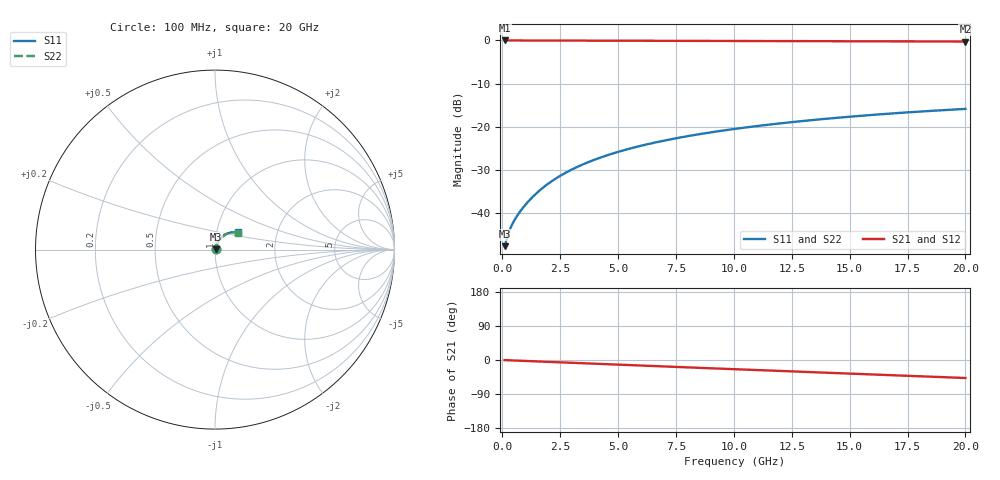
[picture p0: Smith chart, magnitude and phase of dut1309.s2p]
! Touchstone file exported from HFSS 2026.1.0
!  File:  C:/ffzhzh/LocalFiles/Ansys_Project_Files/temp_train_TMRDL_1309_1783164834_18472.aedt
!  Generated:  07:35:03 PM Jul  4, 2026
!  Design:  TMRDL
!  Project:  temp_train_TMRDL_1309_1783164834_18472
! Variables:
!  h_bsmrdl = 2um
!  h_ox = 20um
!  h_rdl = 5um
!  h_sub = 80um
!  h_tmrdl = 3.69um
!  h_tsv = 80um
!  h_via = 3um
!  l_bsmrdl = 300um
!  l_sub = 1230.92um
!  l_tmrdl = 830.92um
!  m_sub = 200um
!  pitch = 30.02um
!  r_tsv = 6um
!  s_tmrdl = 10um
!  w_bsmrdl = 18um
!  w_sub = 500um
!  w_tmrdl = 22.17um
!  x_tsv_center1 = 842.005um
!  x_tsv_center2 = 1160.005um
!  x_tsv_center3 = 2013.095um
!  x_tsv_center4 = 2331.095um
!  x_tsv_center5 = 3184.185um
!  x_tsv_center6 = 3502.185um
# GHz S MA R 50.000000
! Terminal data exported
! Port[1] = TM_RDL1_1_T1
! Port[2] = TM_RDL1_1_T2
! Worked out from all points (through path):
!   200 points, 100 MHz to 20 GHz, reference 50 ohm
!   highest |S21| = -0.03 dB at 100 MHz (marker M1); lowest = -0.3 dB at 20 GHz (marker M2)
!   group delay of S21, straight-line fit = 6.58 ps
!   lowest |S11| = -47.6 dB at 100 MHz (marker M3), VSWR 1.01, Z = 50.4 + j0.16 ohm
!   |S11| at or under -10 dB: start of sweep to end of sweep
!   |S22| runs from -47.6 to -15.8 dB; largest |S21 - S12| = 4.9e-15
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0.1  0.004179 22.3  0.9961 -0.3  0.9961 -0.3  0.004179 22.3
! Gamma 0 0 0 0
! Port Impedance 50 0 50 0
0.2  0.005179 35.1  0.9958 -0.5  0.9958 -0.5  0.00518 35.1
0.3  0.006231 41.8  0.9954 -0.8  0.9954 -0.8  0.006234 41.8
0.4  0.007208 46.1  0.9951 -1.1  0.9951 -1.1  0.007214 46.1
0.5  0.008125 49.4  0.9949 -1.3  0.9949 -1.3  0.008133 49.4
0.6  0.009012 52.2  0.9947 -1.5  0.9947 -1.5  0.009022 52.2
0.8  0.01078 56.8  0.9944 -2.0  0.9944 -2.0  0.01079 56.8
1.2  0.01445 62.9  0.9941 -3.0  0.9941 -3.0  0.01446 62.9
1.7  0.01926 67.0  0.9937 -4.2  0.9937 -4.2  0.01927 66.9
2.2  0.02419 68.9  0.9932 -5.5  0.9932 -5.5  0.0242 68.8
2.8  0.03013 69.7  0.9926 -6.9  0.9926 -6.9  0.03014 69.6
3.5  0.03701 69.6  0.9918 -8.6  0.9918 -8.6  0.03702 69.5
4.2  0.04379 68.9  0.9908 -10.3  0.9908 -10.3  0.0438 68.8
5  0.05136 67.7  0.9897 -12.3  0.9897 -12.3  0.05138 67.6
5.9  0.05965 66.1  0.9883 -14.5  0.9883 -14.5  0.05967 65.9
6.8  0.06768 64.3  0.9869 -16.6  0.9869 -16.6  0.06771 64.2
8.3  0.08054 61.2  0.9845 -20.2  0.9845 -20.2  0.08057 61.1
10.1  0.09516 57.5  0.9817 -24.4  0.9817 -24.4  0.0952 57.3
11.7  0.1075 54.1  0.9793 -28.2  0.9793 -28.2  0.1075 53.9
13.4  0.1199 50.5  0.9768 -32.2  0.9768 -32.2  0.12 50.2
16.7  0.142 43.5  0.9722 -39.9  0.9722 -39.9  0.1421 43.1
20  0.1612 36.5  0.9679 -47.5  0.9679 -47.5  0.1614 36.0
